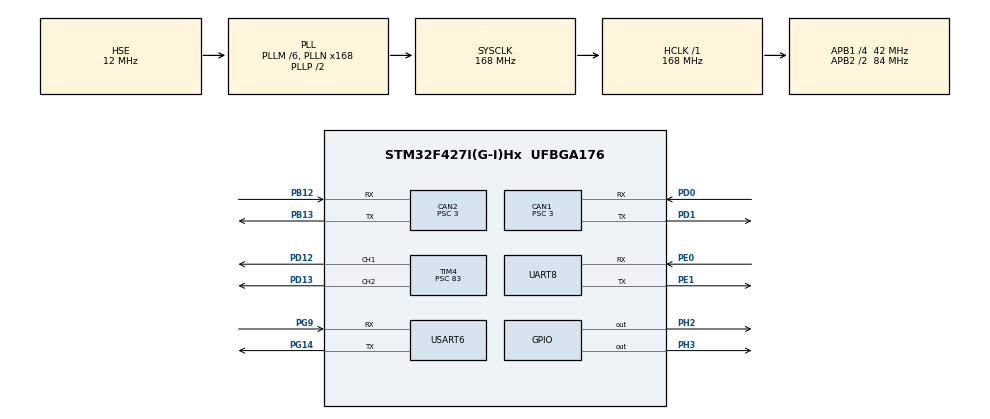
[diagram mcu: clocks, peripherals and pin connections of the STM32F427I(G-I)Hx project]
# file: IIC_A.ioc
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CAN1.BS1=CAN_BS1_10TQ
CAN1.BS2=CAN_BS2_3TQ
CAN1.CalculateBaudRate=1000000
CAN1.CalculateTimeBit=1000
CAN1.CalculateTimeQuantum=71.42857142857143
CAN1.Prescaler=3
CAN2.BS1=CAN_BS1_10TQ
CAN2.BS2=CAN_BS2_3TQ
CAN2.CalculateBaudRate=1000000
CAN2.CalculateTimeBit=1000
CAN2.CalculateTimeQuantum=71.42857142857143
CAN2.Prescaler=3
FREERTOS.Tasks01=defaultTask,0,128,StartDefaultTask,Default,NULL,Dynamic,NULL,NULL;Test,0,256,Test_Task,As weak,NULL,Dynamic,NULL,NULL;chassic,0,256,Chassic_Task,As weak,NULL,Dynamic,NULL,NULL;pid,0,128,PID_Task,As weak,NULL,Dynamic,NULL,NULL;transmit,0,256,Transmit_Task,As weak,NULL,Dynamic,NULL,NULL
Mcu.Family=STM32F4
Mcu.Name=STM32F427I(G-I)Hx
Mcu.Package=UFBGA176
NVIC.CAN1_RX0_IRQn=true\:5\:0\:false\:false\:true\:true\:true\:true\:true
NVIC.CAN1_RX1_IRQn=true\:5\:0\:false\:false\:true\:true\:true\:true\:true
NVIC.CAN2_RX0_IRQn=true\:5\:0\:false\:false\:true\:true\:true\:true\:true
NVIC.CAN2_RX1_IRQn=true\:5\:0\:false\:false\:true\:true\:true\:true\:true
NVIC.PriorityGroup=NVIC_PRIORITYGROUP_4
NVIC.TIM7_IRQn=true\:15\:0\:false\:false\:true\:false\:false\:true\:true
NVIC.TimeBase=TIM7_IRQn
NVIC.TimeBaseIP=TIM7
NVIC.UART8_IRQn=true\:5\:0\:false\:false\:true\:true\:true\:true\:true
NVIC.USART6_IRQn=true\:5\:0\:false\:false\:true\:true\:true\:true\:true
PA13.Mode=Serial_Wire
PA13.Signal=SYS_JTMS-SWDIO
PA14.Mode=Serial_Wire
PA14.Signal=SYS_JTCK-SWCLK
PB12.Mode=CAN_Activate
PB12.Signal=CAN2_RX
PB13.Mode=CAN_Activate
PB13.Signal=CAN2_TX
PD0.Mode=CAN_Activate
PD0.Signal=CAN1_RX
PD1.Mode=CAN_Activate
PD1.Signal=CAN1_TX
PD12.Signal=S_TIM4_CH1
PD13.Signal=S_TIM4_CH2
PE0.Mode=Asynchronous
PE0.Signal=UART8_RX
PE1.Mode=Asynchronous
PE1.Signal=UART8_TX
PG14.Mode=Asynchronous
PG14.Signal=USART6_TX
PG9.Mode=Asynchronous
PG9.Signal=USART6_RX
PH0/OSC_IN.Mode=HSE-External-Oscillator
PH0/OSC_IN.Signal=RCC_OSC_IN
PH1/OSC_OUT.Mode=HSE-External-Oscillator
PH1/OSC_OUT.Signal=RCC_OSC_OUT
PH2.Signal=GPIO_Output
PH3.Signal=GPIO_Output
ProjectManager.HeapSize=0x200
ProjectManager.StackSize=0x400
ProjectManager.TargetToolchain=MDK-ARM V5.32
RCC.48MHZClocksFreq_Value=84000000
RCC.AHBFreq_Value=168000000
RCC.APB1CLKDivider=RCC_HCLK_DIV4
RCC.APB1Freq_Value=42000000
RCC.APB1TimFreq_Value=84000000
RCC.APB2CLKDivider=RCC_HCLK_DIV2
RCC.APB2Freq_Value=84000000
RCC.APB2TimFreq_Value=168000000
RCC.CortexFreq_Value=168000000
RCC.HCLKFreq_Value=168000000
RCC.HSE_VALUE=12000000
RCC.HSI_VALUE=16000000
RCC.LSE_VALUE=32768
RCC.PLLM=6
RCC.PLLN=168
RCC.PLLSourceVirtual=RCC_PLLSOURCE_HSE
RCC.SYSCLKFreq_VALUE=168000000
RCC.SYSCLKSource=RCC_SYSCLKSOURCE_PLLCLK
RCC.VCOOutputFreq_Value=336000000
SH.S_TIM4_CH1.0=TIM4_CH1,PWM Generation1 CH1
SH.S_TIM4_CH2.0=TIM4_CH2,PWM Generation2 CH2
TIM4.AutoReloadPreload=TIM_AUTORELOAD_PRELOAD_DISABLE
TIM4.Channel-PWM\ Generation1\ CH1=TIM_CHANNEL_1
TIM4.Channel-PWM\ Generation2\ CH2=TIM_CHANNEL_2
TIM4.Period=20000
TIM4.Prescaler=83
UART8.VirtualMode=Asynchronous
USART6.VirtualMode=VM_ASYNC
VP_FREERTOS_VS_CMSIS_V1.Mode=CMSIS_V1
VP_SYS_VS_tim7.Mode=TIM7
board=custom

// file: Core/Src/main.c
/* USER CODE BEGIN Header */
/**
  ******************************************************************************
  * @file           : main.c
  * @brief          : Main program body
  ******************************************************************************
  * @attention
  *
  * Copyright (c) 2024 STMicroelectronics.
  * All rights reserved.
  *
  * This software is licensed under terms that can be found in the LICENSE file
  * in the root directory of this software component.
  * If no LICENSE file comes with this software, it is provided AS-IS.
  *
  ******************************************************************************
  */
/* USER CODE END Header */
#include "main.h"
#include "cmsis_os.h"
#include "can.h"
#include "tim.h"
#include "usart.h"
#include "gpio.h"

void SystemClock_Config(void);
void MX_FREERTOS_Init(void);
/* USER CODE BEGIN PFP */
#include "Variable.h"
/* USER CODE END PFP */

int main(void)
{

  /* MCU Configuration--------------------------------------------------------*/

  /* Reset of all peripherals, Initializes the Flash interface and the Systick. */
  HAL_Init();

  /* Configure the system clock */
  SystemClock_Config();

  /* Initialize all configured peripherals */
  MX_GPIO_Init();
  MX_CAN1_Init();
  MX_CAN2_Init();
  MX_TIM4_Init();
  MX_UART8_Init();
  MX_USART6_UART_Init();
  /* USER CODE BEGIN 2 */
  HAL_GPIO_WritePin(GPIOH, GPIO_PIN_2, GPIO_PIN_SET);
  HAL_GPIO_WritePin(GPIOH, GPIO_PIN_3, GPIO_PIN_SET);
  can_filter_init();
  PID_init();
  Servo_Init();
  Un_Claw;
  Un_Sink;
  __HAL_UART_ENABLE_IT(&huart8, UART_IT_RXNE);  //receive interrupt
  __HAL_UART_ENABLE_IT(&huart6, UART_IT_RXNE);

  /* USER CODE END 2 */

  /* Call init function for freertos objects (in cmsis_os2.c) */
  MX_FREERTOS_Init();

  /* Start scheduler */
  osKernelStart();

  /* We should never get here as control is now taken by the scheduler */

  /* Infinite loop */
  while (1)
  {

  }
}

void SystemClock_Config(void)
{
  RCC_OscInitTypeDef RCC_OscInitStruct = {0};
  RCC_ClkInitTypeDef RCC_ClkInitStruct = {0};

  /** Configure the main internal regulator output voltage
  */
  __HAL_RCC_PWR_CLK_ENABLE();
  __HAL_PWR_VOLTAGESCALING_CONFIG(PWR_REGULATOR_VOLTAGE_SCALE1);

  /** Initializes the RCC Oscillators according to the specified parameters
  * in the RCC_OscInitTypeDef structure.
  */
  RCC_OscInitStruct.OscillatorType = RCC_OSCILLATORTYPE_HSE;
  RCC_OscInitStruct.HSEState = RCC_HSE_ON;
  RCC_OscInitStruct.PLL.PLLState = RCC_PLL_ON;
  RCC_OscInitStruct.PLL.PLLSource = RCC_PLLSOURCE_HSE;
  RCC_OscInitStruct.PLL.PLLM = 6;
  RCC_OscInitStruct.PLL.PLLN = 168;
  RCC_OscInitStruct.PLL.PLLP = RCC_PLLP_DIV2;
  RCC_OscInitStruct.PLL.PLLQ = 4;
  if (HAL_RCC_OscConfig(&RCC_OscInitStruct) != HAL_OK)
  {
    Error_Handler();
  }

  /** Initializes the CPU, AHB and APB buses clocks
  */
  RCC_ClkInitStruct.ClockType = RCC_CLOCKTYPE_HCLK|RCC_CLOCKTYPE_SYSCLK
                              |RCC_CLOCKTYPE_PCLK1|RCC_CLOCKTYPE_PCLK2;
  RCC_ClkInitStruct.SYSCLKSource = RCC_SYSCLKSOURCE_PLLCLK;
  RCC_ClkInitStruct.AHBCLKDivider = RCC_SYSCLK_DIV1;
  RCC_ClkInitStruct.APB1CLKDivider = RCC_HCLK_DIV4;
  RCC_ClkInitStruct.APB2CLKDivider = RCC_HCLK_DIV2;

  if (HAL_RCC_ClockConfig(&RCC_ClkInitStruct, FLASH_LATENCY_5) != HAL_OK)
  {
    Error_Handler();
  }
}

/* USER CODE BEGIN 4 */
void HAL_UART_RxCpltCallback(UART_HandleTypeDef *huart)
{
  /* USER CODE BEGIN Callback 0 */

  /* USER CODE END Callback 0 */
  if (huart->Instance == USART6)
  {
	  int i = 0;
	  for(i = 0;receive_USART6[i] != 'C';i++) {}
	  for(int j = 0;j<=3;j++)
	  {
		  if((i + j + 2 ) > 8) i = i - 8;
		  Get_cc[j] = receive_USART6[i+j+2];
		  if(Get_cc[j]>128)
			 Get_cc[j] = Get_cc[j] - 256;
	  }
	  for(int j = 4;j<=5;j++)
	  {
		  if((i + j + 2 ) > 8) i = i - 8;
		  Get_cc[j] = receive_USART6[i+j+2];
	  }
	  HAL_UART_Receive_IT(&huart6,receive_USART6,10);
  }
  /* USER CODE BEGIN Callback 1 */

  /* USER CODE END Callback 1 */
}

/* USER CODE END 4 */

void HAL_TIM_PeriodElapsedCallback(TIM_HandleTypeDef *htim)
{
  if (htim->Instance == TIM7) {
    HAL_IncTick();
  }
}

void Error_Handler(void)
{
  __disable_irq();
  while (1)
  {
  }
}
